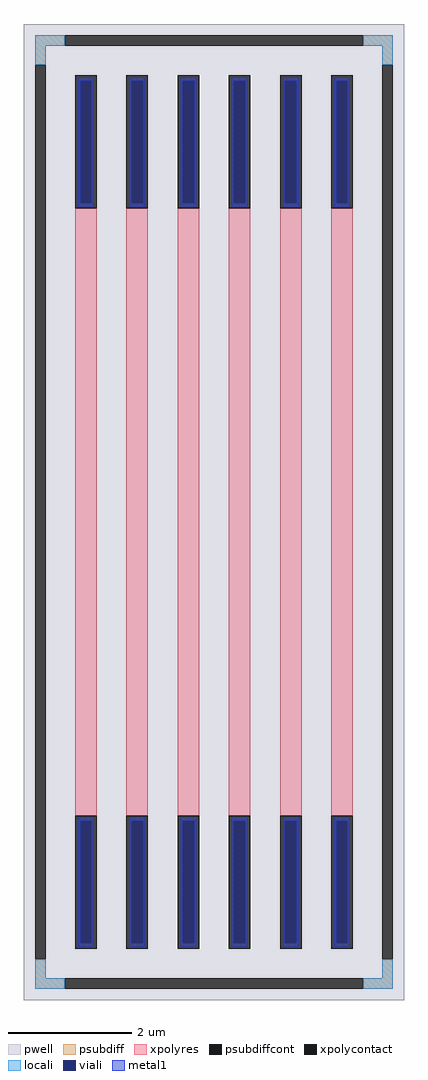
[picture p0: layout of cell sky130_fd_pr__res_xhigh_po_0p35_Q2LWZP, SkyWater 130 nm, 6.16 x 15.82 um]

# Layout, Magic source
magic
tech sky130A
magscale 1 2
<< pwell >>
rect -616 -1582 616 1582
<< psubdiff >>
rect -580 1512 -484 1546
rect 484 1512 580 1546
rect -580 1450 -546 1512
rect 546 1450 580 1512
rect -580 -1512 -546 -1450
rect 546 -1512 580 -1450
rect -580 -1546 -484 -1512
rect 484 -1546 580 -1512
<< psubdiffcont >>
rect -484 1512 484 1546
rect -580 -1450 -546 1450
rect 546 -1450 580 1450
rect -484 -1546 484 -1512
<< xpolycontact >>
rect -450 984 -380 1416
rect -450 -1416 -380 -984
rect -284 984 -214 1416
rect -284 -1416 -214 -984
rect -118 984 -48 1416
rect -118 -1416 -48 -984
rect 48 984 118 1416
rect 48 -1416 118 -984
rect 214 984 284 1416
rect 214 -1416 284 -984
rect 380 984 450 1416
rect 380 -1416 450 -984
<< xpolyres >>
rect -450 -984 -380 984
rect -284 -984 -214 984
rect -118 -984 -48 984
rect 48 -984 118 984
rect 214 -984 284 984
rect 380 -984 450 984
<< locali >>
rect -580 1512 -484 1546
rect 484 1512 580 1546
rect -580 1450 -546 1512
rect 546 1450 580 1512
rect -580 -1512 -546 -1450
rect 546 -1512 580 -1450
rect -580 -1546 -484 -1512
rect 484 -1546 580 -1512
<< viali >>
rect -434 1001 -396 1398
rect -268 1001 -230 1398
rect -102 1001 -64 1398
rect 64 1001 102 1398
rect 230 1001 268 1398
rect 396 1001 434 1398
rect -434 -1398 -396 -1001
rect -268 -1398 -230 -1001
rect -102 -1398 -64 -1001
rect 64 -1398 102 -1001
rect 230 -1398 268 -1001
rect 396 -1398 434 -1001
<< metal1 >>
rect -440 1398 -390 1410
rect -440 1001 -434 1398
rect -396 1001 -390 1398
rect -440 989 -390 1001
rect -274 1398 -224 1410
rect -274 1001 -268 1398
rect -230 1001 -224 1398
rect -274 989 -224 1001
rect -108 1398 -58 1410
rect -108 1001 -102 1398
rect -64 1001 -58 1398
rect -108 989 -58 1001
rect 58 1398 108 1410
rect 58 1001 64 1398
rect 102 1001 108 1398
rect 58 989 108 1001
rect 224 1398 274 1410
rect 224 1001 230 1398
rect 268 1001 274 1398
rect 224 989 274 1001
rect 390 1398 440 1410
rect 390 1001 396 1398
rect 434 1001 440 1398
rect 390 989 440 1001
rect -440 -1001 -390 -989
rect -440 -1398 -434 -1001
rect -396 -1398 -390 -1001
rect -440 -1410 -390 -1398
rect -274 -1001 -224 -989
rect -274 -1398 -268 -1001
rect -230 -1398 -224 -1001
rect -274 -1410 -224 -1398
rect -108 -1001 -58 -989
rect -108 -1398 -102 -1001
rect -64 -1398 -58 -1001
rect -108 -1410 -58 -1398
rect 58 -1001 108 -989
rect 58 -1398 64 -1001
rect 102 -1398 108 -1001
rect 58 -1410 108 -1398
rect 224 -1001 274 -989
rect 224 -1398 230 -1001
rect 268 -1398 274 -1001
rect 224 -1410 274 -1398
rect 390 -1001 440 -989
rect 390 -1398 396 -1001
rect 434 -1398 440 -1001
rect 390 -1410 440 -1398
<< properties >>
string FIXED_BBOX -563 -1529 563 1529
string gencell sky130_fd_pr__res_xhigh_po_0p35
string library sky130
string parameters w 0.350 l 10 m 1 nx 6 wmin 0.350 lmin 0.50 class resistor rho 2000 val 58.218k dummy 0 dw 0.0 term 188.2 sterm 0.0 caplen 0 wmax 0.350 guard 1 glc 1 grc 1 gtc 1 gbc 1 compatible {sky130_fd_pr__res_xhigh_po_0p35  sky130_fd_pr__res_xhigh_po_0p69 sky130_fd_pr__res_xhigh_po_1p41  sky130_fd_pr__res_xhigh_po_2p85 sky130_fd_pr__res_xhigh_po_5p73} snake 0 full_metal 1 n_guard 0 hv_guard 0 vias 1 viagb 0 viagt 0 viagl 0 viagr 0
<< end >>
